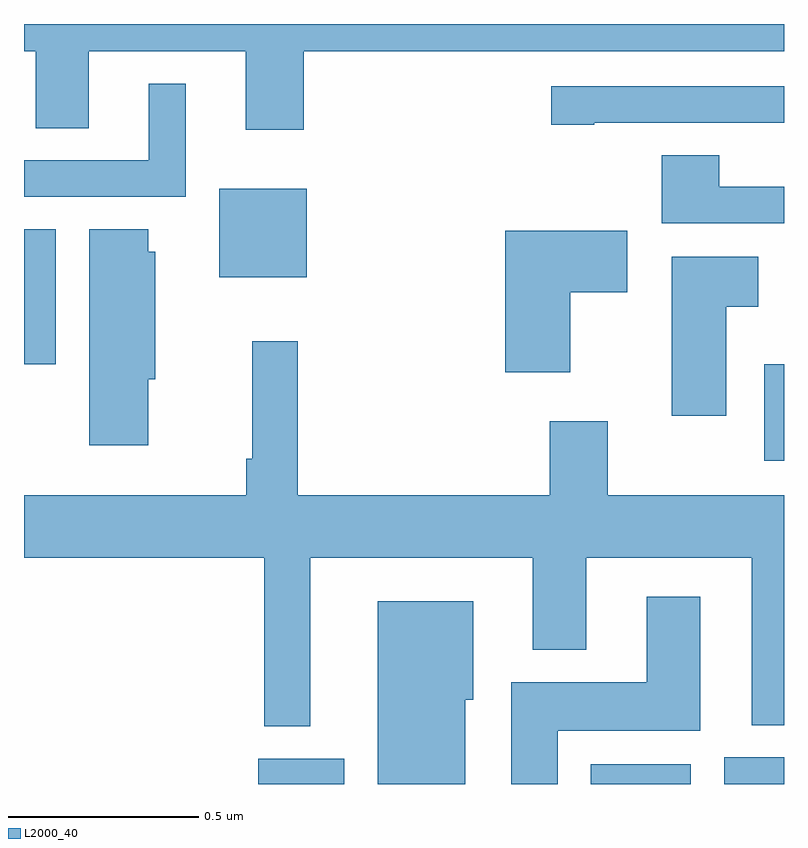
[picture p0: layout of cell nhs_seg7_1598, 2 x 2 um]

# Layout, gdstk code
import gdstk
lib = gdstk.Library(unit=1e-6, precision=1e-09)
def R(c, l, rs):  # rectangles x0, y0, x1, y1
    for r in rs: c.add(gdstk.rectangle(r[:2], r[2:], *l))
def P(c, l, *ps):  # polygons
    for p in ps: c.add(gdstk.Polygon(p, *l))
L2000_40 = (2000, 40)

nhs_seg7_1598 = lib.new_cell('nhs_seg7_1598')
R(nhs_seg7_1598, L2000_40, [(133.616,1020,133.843,1020.067), (134.492,1020,134.755,1020.052), (134.843,1020,135,1020.07), (134.948,1020.851,135,1021.105), (133,1021.104,133.084,1021.46), (133.514,1021.334,133.744,1021.567)])
P(nhs_seg7_1598, L2000_40, [(133.736,1021.928),(135,1021.928),(135,1022),(133,1022),(133,1021.928),(133.031,1021.928),(133.031,1021.726),(133.171,1021.726),(133.171,1021.928),(133.583,1021.928),(133.583,1021.722),(133.736,1021.722)],
  [(133.426,1021.843),(133.328,1021.843),(133.328,1021.641),(133,1021.641),(133,1021.545),(133.426,1021.545)],
  [(134.5,1021.74),(135,1021.74),(135,1021.836),(134.388,1021.836),(134.388,1021.735),(134.5,1021.735)],
  [(135,1021.572),(134.83,1021.572),(134.83,1021.655),(134.678,1021.655),(134.678,1021.476),(135,1021.476)],
  [(133.327,1021.065),(133.345,1021.065),(133.345,1021.401),(133.327,1021.401),(133.327,1021.46),(133.172,1021.46),(133.172,1020.891),(133.327,1020.891)],
  [(134.437,1021.294),(134.587,1021.294),(134.587,1021.456),(134.267,1021.456),(134.267,1021.083),(134.437,1021.083)],
  [(134.848,1021.256),(134.932,1021.256),(134.932,1021.387),(134.705,1021.387),(134.705,1020.969),(134.848,1020.969)],
  [(134.536,1020.955),(134.384,1020.955),(134.384,1020.76),(133.721,1020.76),(133.721,1021.165),(133.6,1021.165),(133.6,1020.856),(133.585,1020.856),(133.585,1020.76),(133,1020.76),(133,1020.596),(133.632,1020.596),(133.632,1020.152),(133.753,1020.152),(133.753,1020.596),(134.339,1020.596),(134.339,1020.353),(134.479,1020.353),(134.479,1020.596),(134.915,1020.596),(134.915,1020.155),(135,1020.155),(135,1020.76),(134.536,1020.76)],
  [(134.404,1020.14),(134.779,1020.14),(134.779,1020.493),(134.639,1020.493),(134.639,1020.268),(134.282,1020.268),(134.282,1020),(134.404,1020)],
  [(134.161,1020.222),(134.182,1020.222),(134.182,1020.481),(133.931,1020.481),(133.931,1020),(134.161,1020)])

lib.write_gds('nhs_seg7_1598.gds')
